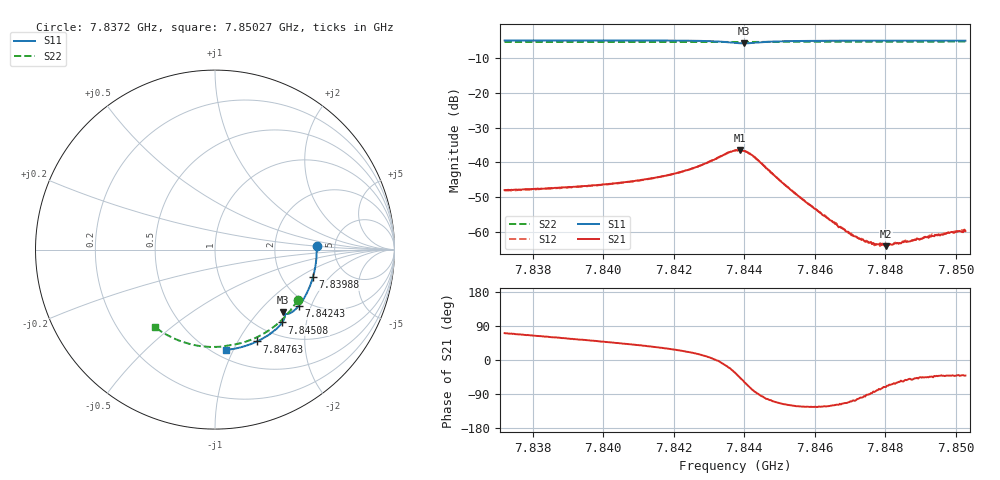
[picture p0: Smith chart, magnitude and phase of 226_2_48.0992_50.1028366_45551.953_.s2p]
#  HZ  S  RI  R  50.00
! Rohde & Schwarz Vector Network Analyzer
! Rohde-Schwarz,ZNB20-2Port,1311601062101988,3.16
! Created: UTC 12/23/2023, 3:57:17 AM
! freq[Hz]  re:S11  im:S11  re:S21  im:S21  re:S12  im:S12  re:S22  im:S22
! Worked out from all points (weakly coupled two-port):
!   401 points, 7.8372 GHz to 7.85027 GHz, reference 50 ohm
!   highest |S21| = -36.49 dB at 7.84387 GHz (marker M1); lowest = -64.2 dB at 7.84802 GHz (marker M2)
!   lowest |S11| = -5.8 dB at 7.844 GHz (marker M3), VSWR 3.13, Z = 72.6 - j68.8 ohm
!   |S11| at or under -10 dB: nowhere
!   |S22| runs from -5.4 to -5.3 dB; largest |S21 - S12| = 0.00025
!   S11 on the Smith chart (normalised r, x): 7.8372 GHz: 3.59, +0.24; 7.83988 GHz: 2.94, -1.34; 7.84243 GHz: 1.79, -1.64; 7.84508 GHz: 1.25, -1.46; 7.84763 GHz: 0.80, -1.21; 7.85027 GHz: 0.58, -0.94
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7.837205e9  0.5658 0.0225  0.0013 0.00376  0.00132 0.00368  0.4601 -0.2822
7.839393e9  0.5536 -0.1225  0.00269 0.00365  0.00268 0.00361  0.3629 -0.4004
7.839883e9  0.5454 -0.1545  0.00309 0.0036  0.00306 0.00356  0.3368 -0.4228
7.841582e9  0.5012 -0.2619  0.00514 0.00334  0.00515 0.00333  0.2368 -0.487
7.842431e9  0.4671 -0.3129  0.00734 0.00278  0.00729 0.00282  0.1816 -0.5099
7.843248e9  0.4186 -0.3542  0.0117 -0.000294  0.0116 -0.000453  0.1262 -0.5258
7.843738e9  0.3834 -0.3559  0.0124 -0.00817  0.0123 -0.0082  0.0933 -0.531
7.843869e9  0.3795 -0.3515  0.0105 -0.0107  0.0105 -0.0107  0.085 -0.5321
7.843999e9  0.3799 -0.3481  0.00768 -0.0124  0.00773 -0.0124  0.0768 -0.5336
7.844293e9  0.388 -0.3538  0.00132 -0.0117  0.0015 -0.0119  0.0577 -0.5372
7.845077e9  0.3745 -0.4057  -0.0022 -0.00459  -0.00219 -0.00464  0.00322 -0.5427
7.845927e9  0.3323 -0.4506  -0.00128 -0.0019  -0.00127 -0.00194  -0.0567 -0.5407
7.846449e9  0.3032 -0.4726  -0.000742 -0.00125  -0.000751 -0.00126  -0.0933 -0.536
7.847037e9  0.2689 -0.494  -0.000302 -0.00084  -0.000313 -0.000888  -0.1338 -0.5278
7.847364e9  0.2495 -0.5044  -0.000112 -0.00077  -0.000104 -0.000737  -0.1557 -0.5219
7.847625e9  0.2336 -0.512  3.1e-05 -0.000663  6.7e-05 -0.000668  -0.1735 -0.5164
7.847789e9  0.2235 -0.5165  0.00012 -0.000646  0.000103 -0.000651  -0.1843 -0.5128
7.848017e9  0.2093 -0.5226  0.000198 -0.000588  0.000236 -0.000629  -0.1994 -0.5072
7.848115e9  0.2032 -0.525  0.000275 -0.000589  0.000268 -0.000606  -0.2058 -0.5046
7.849324e9  0.126 -0.5486  0.000632 -0.000597  0.000667 -0.000637  -0.2816 -0.4673
7.849814e9  0.094 -0.5547  0.000721 -0.000631  0.000716 -0.000658  -0.3107 -0.4488
7.850271e9  0.0638 -0.5588  0.000773 -0.000671  0.000798 -0.000713  -0.3368 -0.43
